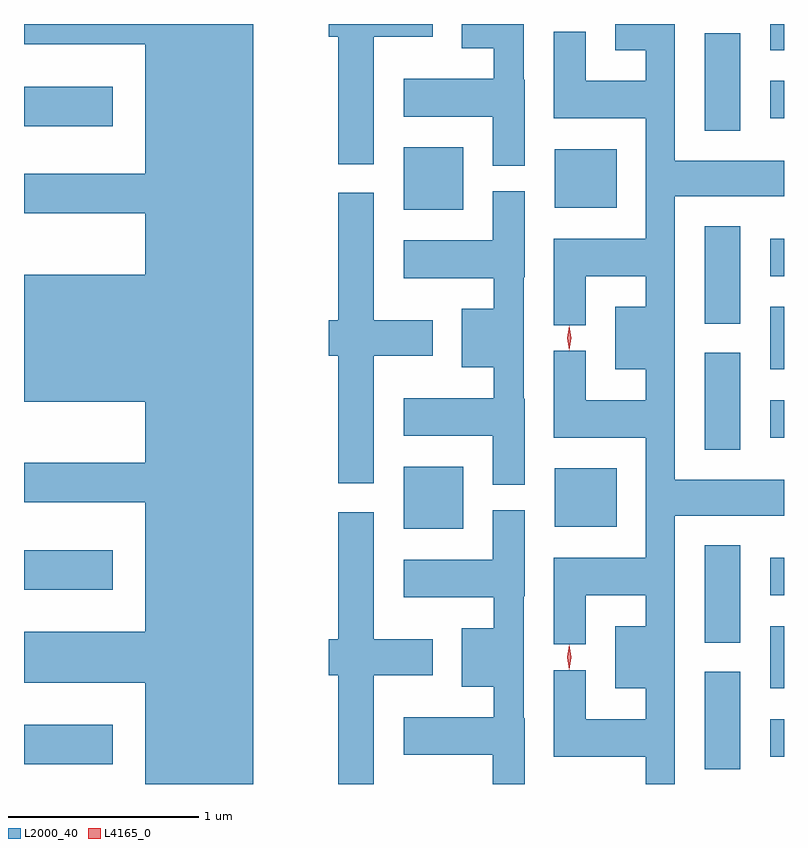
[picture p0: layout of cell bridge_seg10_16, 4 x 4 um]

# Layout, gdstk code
import gdstk
lib = gdstk.Library(unit=1e-6, precision=1e-09)
def R(c, l, rs):  # rectangles x0, y0, x1, y1
    for r in rs: c.add(gdstk.rectangle(r[:2], r[2:], *l))
def P(c, l, *ps):  # polygons
    for p in ps: c.add(gdstk.Polygon(p, *l))
L2000_40 = (2000, 40)
L4165_0 = (4165, 0)

bridge_seg10_16 = lib.new_cell('bridge_seg10_16')
R(bridge_seg10_16, L2000_40, [(1788.376,2158.501,1788.564,2159.014), (1784.793,2158.526,1785.259,2158.734), (1788.721,2158.566,1788.793,2158.764), (1788.721,2158.926,1788.793,2159.254), (1788.376,2159.166,1788.564,2159.679), (1788.721,2159.416,1788.793,2159.614), (1784.793,2159.446,1785.259,2159.654), (1786.791,2159.766,1787.104,2160.094), (1787.586,2159.776,1787.914,2160.084), (1788.376,2160.181,1788.564,2160.694), (1788.721,2160.246,1788.793,2160.444), (1788.721,2160.606,1788.793,2160.934), (1788.376,2160.846,1788.564,2161.359), (1788.721,2161.096,1788.793,2161.294), (1786.791,2161.446,1787.104,2161.774), (1787.586,2161.456,1787.914,2161.764), (1788.376,2161.861,1788.564,2162.374), (1784.793,2161.886,1785.259,2162.094), (1788.721,2161.926,1788.793,2162.124), (1788.721,2162.286,1788.793,2162.423)])
P(bridge_seg10_16, L2000_40, [(1785.999,2162.423),(1784.793,2162.423),(1784.793,2162.316),(1785.431,2162.316),(1785.431,2161.634),(1784.793,2161.634),(1784.793,2161.426),(1785.431,2161.426),(1785.431,2161.104),(1784.793,2161.104),(1784.793,2160.436),(1785.431,2160.436),(1785.431,2160.114),(1784.793,2160.114),(1784.793,2159.906),(1785.431,2159.906),(1785.431,2159.224),(1784.793,2159.224),(1784.793,2158.956),(1785.431,2158.956),(1785.431,2158.423),(1785.999,2158.423)],
  [(1786.634,2162.356),(1786.944,2162.356),(1786.944,2162.423),(1786.396,2162.423),(1786.396,2162.356),(1786.446,2162.356),(1786.446,2161.686),(1786.634,2161.686)],
  [(1788.219,2159.836),(1788.793,2159.836),(1788.793,2160.024),(1788.219,2160.024),(1788.219,2161.516),(1788.793,2161.516),(1788.793,2161.704),(1788.219,2161.704),(1788.219,2162.423),(1787.906,2162.423),(1787.906,2162.286),(1788.066,2162.286),(1788.066,2162.124),(1787.749,2162.124),(1787.749,2162.383),(1787.581,2162.383),(1787.581,2161.926),(1788.066,2161.926),(1788.066,2161.294),(1787.581,2161.294),(1787.581,2160.838),(1787.749,2160.838),(1787.749,2161.096),(1788.066,2161.096),(1788.066,2160.934),(1787.906,2160.934),(1787.906,2160.606),(1788.066,2160.606),(1788.066,2160.444),(1787.749,2160.444),(1787.749,2160.703),(1787.581,2160.703),(1787.581,2160.246),(1788.066,2160.246),(1788.066,2159.614),(1787.581,2159.614),(1787.581,2159.158),(1787.749,2159.158),(1787.749,2159.416),(1788.066,2159.416),(1788.066,2159.254),(1787.906,2159.254),(1787.906,2158.926),(1788.066,2158.926),(1788.066,2158.764),(1787.749,2158.764),(1787.749,2159.023),(1787.581,2159.023),(1787.581,2158.566),(1788.066,2158.566),(1788.066,2158.423),(1788.219,2158.423)],
  [(1787.429,2162.13),(1787.424,2162.13),(1787.424,2162.423),(1787.096,2162.423),(1787.096,2162.296),(1787.266,2162.296),(1787.266,2162.134),(1786.791,2162.134),(1786.791,2161.936),(1787.261,2161.936),(1787.261,2161.678),(1787.429,2161.678)],
  [(1787.429,2160.45),(1787.424,2160.45),(1787.424,2161.09),(1787.429,2161.09),(1787.429,2161.543),(1787.261,2161.543),(1787.261,2161.284),(1786.791,2161.284),(1786.791,2161.086),(1787.266,2161.086),(1787.266,2160.924),(1787.096,2160.924),(1787.096,2160.616),(1787.266,2160.616),(1787.266,2160.454),(1786.791,2160.454),(1786.791,2160.256),(1787.261,2160.256),(1787.261,2159.998),(1787.429,2159.998)],
  [(1786.634,2160.676),(1786.944,2160.676),(1786.944,2160.864),(1786.634,2160.864),(1786.634,2161.534),(1786.446,2161.534),(1786.446,2160.864),(1786.396,2160.864),(1786.396,2160.676),(1786.446,2160.676),(1786.446,2160.006),(1786.634,2160.006)],
  [(1787.429,2158.77),(1787.424,2158.77),(1787.424,2159.41),(1787.429,2159.41),(1787.429,2159.863),(1787.261,2159.863),(1787.261,2159.604),(1786.791,2159.604),(1786.791,2159.406),(1787.266,2159.406),(1787.266,2159.244),(1787.096,2159.244),(1787.096,2158.936),(1787.266,2158.936),(1787.266,2158.774),(1786.791,2158.774),(1786.791,2158.576),(1787.261,2158.576),(1787.261,2158.423),(1787.429,2158.423)],
  [(1786.634,2158.996),(1786.944,2158.996),(1786.944,2159.184),(1786.634,2159.184),(1786.634,2159.854),(1786.446,2159.854),(1786.446,2159.184),(1786.396,2159.184),(1786.396,2158.996),(1786.446,2158.996),(1786.446,2158.423),(1786.634,2158.423)])
P(bridge_seg10_16, L4165_0, [(1787.662,2159.024),(1787.662,2159.025),(1787.652,2159.09),(1787.662,2159.155),(1787.662,2159.156),(1787.663,2159.155),(1787.672,2159.09),(1787.663,2159.025)],
  [(1787.662,2160.704),(1787.662,2160.705),(1787.652,2160.77),(1787.662,2160.835),(1787.662,2160.836),(1787.663,2160.835),(1787.672,2160.77),(1787.663,2160.705)])

lib.write_gds('bridge_seg10_16.gds')
